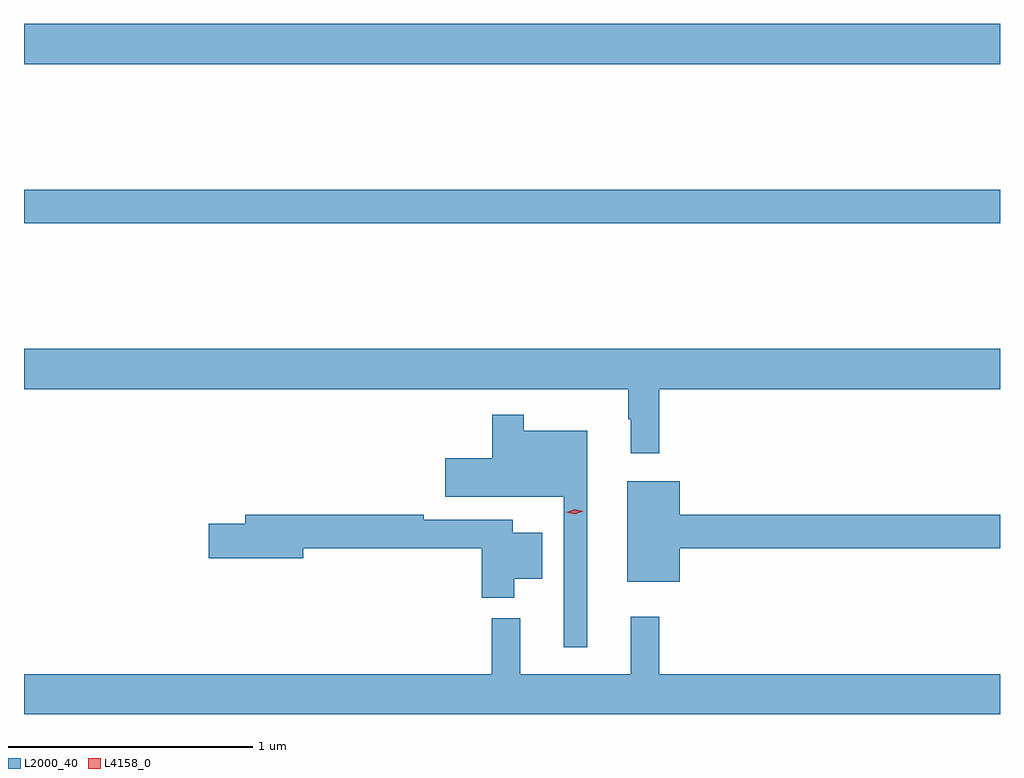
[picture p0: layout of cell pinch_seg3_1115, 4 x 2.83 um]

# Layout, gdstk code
import gdstk
lib = gdstk.Library(unit=1e-6, precision=1e-09)
def R(c, l, rs):  # rectangles x0, y0, x1, y1
    for r in rs: c.add(gdstk.rectangle(r[:2], r[2:], *l))
def P(c, l, *ps):  # polygons
    for p in ps: c.add(gdstk.Polygon(p, *l))
L2000_40 = (2000, 40)
L4158_0 = (4158, 0)

pinch_seg3_1115 = lib.new_cell('pinch_seg3_1115')
R(pinch_seg3_1115, L2000_40, [(195.881,704.26,199.881,704.396), (195.881,704.912,199.881,705.076)])
P(pinch_seg3_1115, L2000_40, [(198.485,703.58),(199.881,703.58),(199.881,703.744),(195.881,703.744),(195.881,703.58),(198.357,703.58),(198.357,703.457),(198.368,703.457),(198.368,703.317),(198.485,703.317)],
  [(198.19,703.408),(197.929,703.408),(197.929,703.474),(197.8,703.474),(197.8,703.297),(197.607,703.297),(197.607,703.139),(198.093,703.139),(198.093,702.522),(198.19,702.522)],
  [(198.568,702.928),(199.881,702.928),(199.881,703.064),(198.568,703.064),(198.568,703.201),(198.353,703.201),(198.353,702.791),(198.568,702.791)],
  [(197.89,702.803),(198.004,702.803),(198.004,702.991),(197.884,702.991),(197.884,703.044),(197.519,703.044),(197.519,703.064),(196.787,703.064),(196.787,703.028),(196.638,703.028),(196.638,702.886),(197.026,702.886),(197.026,702.928),(197.756,702.928),(197.756,702.725),(197.89,702.725)],
  [(199.881,702.412),(198.485,702.412),(198.485,702.646),(198.368,702.646),(198.368,702.412),(197.915,702.412),(197.915,702.64),(197.797,702.64),(197.797,702.412),(195.881,702.412),(195.881,702.248),(199.881,702.248)])
P(pinch_seg3_1115, L4158_0, [(198.139,703.067),(198.103,703.074),(198.103,703.074),(198.103,703.074),(198.138,703.087),(198.174,703.08),(198.174,703.079),(198.174,703.079)])

lib.write_gds('pinch_seg3_1115.gds')
